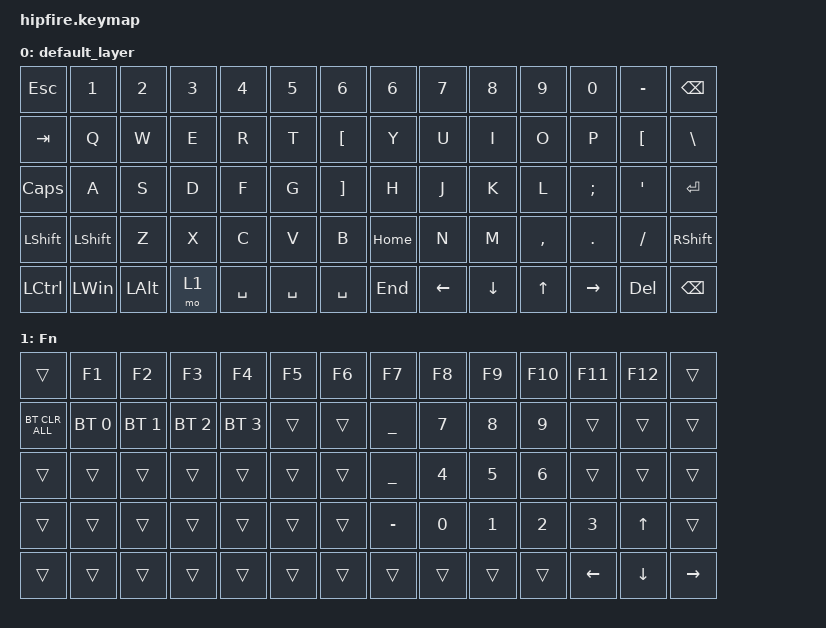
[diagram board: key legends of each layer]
#include <behaviors.dtsi>
#include <dt-bindings/zmk/keys.h>
#include <dt-bindings/zmk/bt.h>

/ {
    keymap {
        compatible = "zmk,keymap";

        default_layer { // Layer 0
            bindings = <
               &kp ESC    &kp N1     &kp N2   &kp N3  &kp N4  &kp N5  &kp N6            &kp N6    &kp N7    &kp N8  &kp N9  &kp N0        &kp MINUS        &kp BSPC 
               &kp TAB    &kp Q      &kp W    &kp E   &kp R   &kp T   &kp LBKT          &kp Y     &kp U   &kp I   &kp O     &kp P         &kp LBKT         &kp BACKSLASH
               &kp CAPS   &kp A      &kp S    &kp D   &kp F   &kp G   &kp RBKT          &kp H     &kp J   &kp K   &kp L     &kp SEMICOLON &kp SINGLE_QUOTE &kp ENTER
               &kp LSHIFT &kp LSHIFT &kp Z    &kp X   &kp C   &kp V   &kp B             &kp HOME  &kp N   &kp M   &kp COMMA &kp PERIOD    &kp SLASH        &kp RSHIFT
               &kp LCTRL  &kp LWIN   &kp LALT &mo 1   &kp SPACE &kp SPACE &kp SPACE     &kp END  &kp LEFT &kp DOWN &kp UP &kp RIGHT       &kp DEL          &kp BSPC 
            >;
        };
        FN { // Layer 1
            display-name = "Fn";
            bindings = <
                &trans      &kp F1       &kp F2       &kp F3         &kp F4       &kp F5 &kp F6             &kp F7          &kp F8  &kp F9 &kp F10 &kp F11  &kp F12  &trans
                &bt BT_CLR_ALL  &bt BT_SEL 0 &bt BT_SEL 1 &bt BT_SEL 2   &bt BT_SEL 3 &trans &trans         &kp UNDERSCORE  &kp N7  &kp N8 &kp N9  &trans   &trans   &trans
                &trans      &trans       &trans       &trans         &trans       &trans &trans             &kp UNDERSCORE  &kp N4  &kp N5 &kp N6  &trans   &trans   &trans
                &trans      &trans       &trans       &trans         &trans       &trans &trans             &kp MINUS       &kp N0  &kp N1 &kp N2  &kp N3   &kp UP   &trans
                &trans      &trans       &trans       &trans         &trans       &trans &trans             &trans          &trans  &trans &trans  &kp LEFT &kp DOWN &kp RIGHT
            >;
        };
    };
 };
